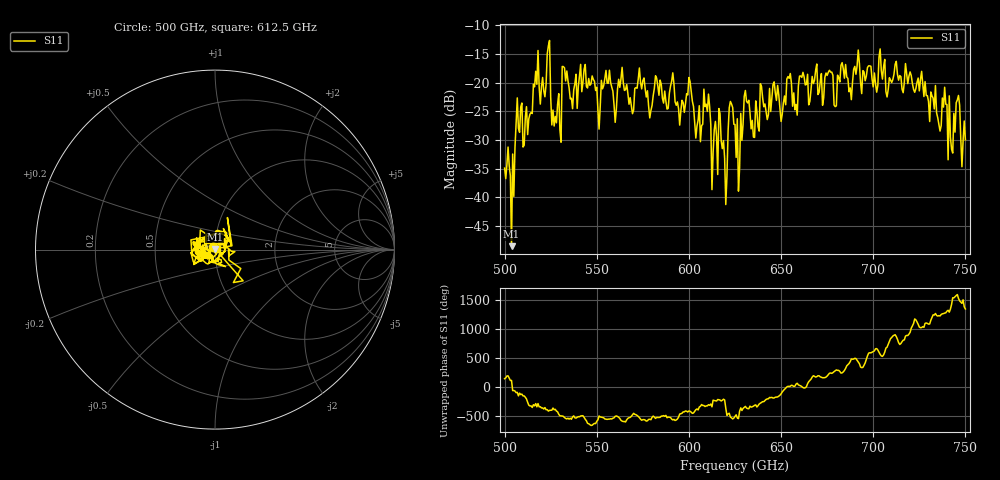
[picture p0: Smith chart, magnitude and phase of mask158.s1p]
!Created with skrf (http://scikit-rf.org).
# GHz S MA R 50.0
!freq magS11 angS11
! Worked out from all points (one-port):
!   401 points, 500 GHz to 750 GHz, reference 50 ohm
!   lowest |S11| = -48.5 dB at 503.8 GHz (marker M1), VSWR 1.01, Z = 49.9 + j0.357 ohm
!   |S11| at or under -10 dB: start of sweep to end of sweep
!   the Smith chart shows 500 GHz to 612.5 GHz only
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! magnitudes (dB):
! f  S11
! 500 GHz  -34.9
! 503.8 GHz  -48.5
! 507.5 GHz  -28.0
! 511.2 GHz  -26.0
! 516.9 GHz  -18.0
! 523.8 GHz  -13.5
! 526.9 GHz  -27.5
! 531.2 GHz  -17.2
! 532.5 GHz  -17.4
! 550.6 GHz  -24.7
! 562.5 GHz  -20.8
! 593.8 GHz  -23.3
! 600 GHz  -19.1
! 605 GHz  -26.5
! 609.4 GHz  -23.7
! 613.8 GHz  -28.2
! 617.5 GHz  -30.1
! 619.4 GHz  -33.1
! 622.5 GHz  -23.3
! 625 GHz  -27.3
! 626.2 GHz  -26.3
! 631.2 GHz  -23.2
! 634.4 GHz  -26.6
! 640 GHz  -22.6
! 656.2 GHz  -24.1
! 687.5 GHz  -20.9
! 718.8 GHz  -20.1
! 750 GHz  -29.9
